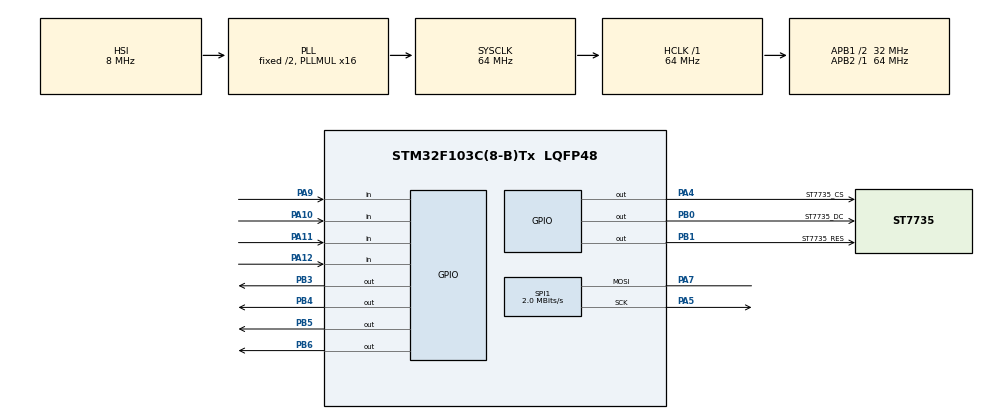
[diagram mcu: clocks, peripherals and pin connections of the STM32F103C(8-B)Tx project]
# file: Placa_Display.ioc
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Mcu.Family=STM32F1
Mcu.Name=STM32F103C(8-B)Tx
Mcu.Package=LQFP48
NVIC.PriorityGroup=NVIC_PRIORITYGROUP_4
PA10.GPIO_PuPd=GPIO_PULLUP
PA10.Signal=GPIO_Input
PA11.GPIO_PuPd=GPIO_PULLUP
PA11.Signal=GPIO_Input
PA12.GPIO_PuPd=GPIO_PULLUP
PA12.Signal=GPIO_Input
PA13.Mode=Serial_Wire
PA13.Signal=SYS_JTMS-SWDIO
PA14.Mode=Serial_Wire
PA14.Signal=SYS_JTCK-SWCLK
PA4.GPIO_Label=ST7735_CS
PA4.Signal=GPIO_Output
PA5.Mode=Simplex_Bidirectional_Master
PA5.Signal=SPI1_SCK
PA7.Mode=Simplex_Bidirectional_Master
PA7.Signal=SPI1_MOSI
PA9.GPIO_PuPd=GPIO_PULLUP
PA9.Signal=GPIO_Input
PB0.GPIO_Label=ST7735_DC
PB0.Signal=GPIO_Output
PB1.GPIO_Label=ST7735_RES
PB1.Signal=GPIO_Output
PB3.Signal=GPIO_Output
PB4.Signal=GPIO_Output
PB5.Signal=GPIO_Output
PB6.Signal=GPIO_Output
ProjectManager.HeapSize=0x200
ProjectManager.StackSize=0x400
ProjectManager.TargetToolchain=STM32CubeIDE
RCC.AHBFreq_Value=64000000
RCC.APB1CLKDivider=RCC_HCLK_DIV2
RCC.APB1Freq_Value=32000000
RCC.APB1TimFreq_Value=64000000
RCC.APB2Freq_Value=64000000
RCC.APB2TimFreq_Value=64000000
RCC.HCLKFreq_Value=64000000
RCC.PLLMUL=RCC_PLL_MUL16
RCC.SYSCLKFreq_VALUE=64000000
RCC.SYSCLKSource=RCC_SYSCLKSOURCE_PLLCLK
RCC.USBFreq_Value=64000000
SPI1.BaudRatePrescaler=SPI_BAUDRATEPRESCALER_32
SPI1.CalculateBaudRate=2.0 MBits/s
SPI1.Direction=SPI_DIRECTION_1LINE
SPI1.Mode=SPI_MODE_MASTER
SPI1.VirtualType=VM_MASTER
board=custom

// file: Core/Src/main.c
/* USER CODE BEGIN Header */
/**
  ******************************************************************************
  * @file           : main.c
  * @brief          : Main program body
  ******************************************************************************
  * @attention
  *
  * <h2><center>&copy; Copyright (c) 2024 STMicroelectronics.
  * All rights reserved.</center></h2>
  *
  * This software component is licensed by ST under BSD 3-Clause license,
  * the "License"; You may not use this file except in compliance with the
  * License. You may obtain a copy of the License at:
  *                        opensource.org/licenses/BSD-3-Clause
  *
  ******************************************************************************
  */
/* USER CODE END Header */
#include "main.h"

/* USER CODE BEGIN Includes */
#include "ST7735\st7735.h"
/* USER CODE END Includes */

/* USER CODE BEGIN PD */
#define FonteQuad Font_16x26
#define DeslocX (2)
#define DeslocY (-3)
#define botEsquerda !HAL_GPIO_ReadPin(GPIOA, GPIO_PIN_9)
#define botDireita  !HAL_GPIO_ReadPin(GPIOA, GPIO_PIN_11)
#define botCima     !HAL_GPIO_ReadPin(GPIOA, GPIO_PIN_12)
#define botBaixo    !HAL_GPIO_ReadPin(GPIOA, GPIO_PIN_10)
/* USER CODE END PD */

SPI_HandleTypeDef hspi1;

/* USER CODE BEGIN PV */
short cursorX = 1;
short cursorY = 1;
short pontosX = 0;
short pontosO = 0;
char* jogador = "x";
short matriz[3][3];
char buffer [10];
char buffer2 [10];
/* USER CODE END PV */

void SystemClock_Config(void);
static void MX_GPIO_Init(void);
static void MX_SPI1_Init(void);
/* USER CODE BEGIN PFP */
void desenhaQuad (short linha, short coluna, const char* chr);
void piscaCursor();
void cursorParaEsquerda();
void cursorParaDireita ();
void alternaJogador();
void fimJogada();
void consertaTabuleiro();
void fimRodada(short result);
void checarVitoria();
void novaRodada();
void zerarMatriz();
void atualizarPontos();
void fimDeJogo();
int sprintf(char *str, const char *format, ...);
/* USER CODE END PFP */

int main(void)
{

  /* MCU Configuration--------------------------------------------------------*/

  /* Reset of all peripherals, Initializes the Flash interface and the Systick. */
  HAL_Init();

  /* Configure the system clock */
  SystemClock_Config();

  /* Initialize all configured peripherals */
  MX_GPIO_Init();
  MX_SPI1_Init();
  /* USER CODE BEGIN 2 */
  ST7735_Init();
  ST7735_FillScreen(WHITE);
  novaRodada();
  /* USER CODE END 2 */

  /* Infinite loop */
  /* USER CODE BEGIN WHILE */
  while (1)
  {
	  piscaCursor();
	  if (botEsquerda) {
	 cursorParaEsquerda();
	  }

	  if (botDireita) {
	  cursorParaDireita();
	  }

	  if (botBaixo) {
	  fimJogada();
	  HAL_Delay(300);
	  }

	  if (botCima) {
	  fimJogada();
	  HAL_Delay(300);
	  }
    /* USER CODE END WHILE */

  }
}

void SystemClock_Config(void)
{
  RCC_OscInitTypeDef RCC_OscInitStruct = {0};
  RCC_ClkInitTypeDef RCC_ClkInitStruct = {0};

  /** Initializes the RCC Oscillators according to the specified parameters
  * in the RCC_OscInitTypeDef structure.
  */
  RCC_OscInitStruct.OscillatorType = RCC_OSCILLATORTYPE_HSI;
  RCC_OscInitStruct.HSIState = RCC_HSI_ON;
  RCC_OscInitStruct.HSICalibrationValue = RCC_HSICALIBRATION_DEFAULT;
  RCC_OscInitStruct.PLL.PLLState = RCC_PLL_ON;
  RCC_OscInitStruct.PLL.PLLSource = RCC_PLLSOURCE_HSI_DIV2;
  RCC_OscInitStruct.PLL.PLLMUL = RCC_PLL_MUL16;
  if (HAL_RCC_OscConfig(&RCC_OscInitStruct) != HAL_OK)
  {
    Error_Handler();
  }
  /** Initializes the CPU, AHB and APB buses clocks
  */
  RCC_ClkInitStruct.ClockType = RCC_CLOCKTYPE_HCLK|RCC_CLOCKTYPE_SYSCLK
                              |RCC_CLOCKTYPE_PCLK1|RCC_CLOCKTYPE_PCLK2;
  RCC_ClkInitStruct.SYSCLKSource = RCC_SYSCLKSOURCE_PLLCLK;
  RCC_ClkInitStruct.AHBCLKDivider = RCC_SYSCLK_DIV1;
  RCC_ClkInitStruct.APB1CLKDivider = RCC_HCLK_DIV2;
  RCC_ClkInitStruct.APB2CLKDivider = RCC_HCLK_DIV1;

  if (HAL_RCC_ClockConfig(&RCC_ClkInitStruct, FLASH_LATENCY_2) != HAL_OK)
  {
    Error_Handler();
  }
}

static void MX_SPI1_Init(void)
{

  /* SPI1 parameter configuration*/
  hspi1.Instance = SPI1;
  hspi1.Init.Mode = SPI_MODE_MASTER;
  hspi1.Init.Direction = SPI_DIRECTION_1LINE;
  hspi1.Init.DataSize = SPI_DATASIZE_8BIT;
  hspi1.Init.CLKPolarity = SPI_POLARITY_LOW;
  hspi1.Init.CLKPhase = SPI_PHASE_1EDGE;
  hspi1.Init.NSS = SPI_NSS_SOFT;
  hspi1.Init.BaudRatePrescaler = SPI_BAUDRATEPRESCALER_32;
  hspi1.Init.FirstBit = SPI_FIRSTBIT_MSB;
  hspi1.Init.TIMode = SPI_TIMODE_DISABLE;
  hspi1.Init.CRCCalculation = SPI_CRCCALCULATION_DISABLE;
  hspi1.Init.CRCPolynomial = 10;
  if (HAL_SPI_Init(&hspi1) != HAL_OK)
  {
    Error_Handler();
  }

}

static void MX_GPIO_Init(void)
{
  GPIO_InitTypeDef GPIO_InitStruct = {0};

  /* GPIO Ports Clock Enable */
  __HAL_RCC_GPIOA_CLK_ENABLE();
  __HAL_RCC_GPIOB_CLK_ENABLE();

  /*Configure GPIO pin Output Level */
  HAL_GPIO_WritePin(ST7735_CS_GPIO_Port, ST7735_CS_Pin, GPIO_PIN_RESET);

  /*Configure GPIO pin Output Level */
  HAL_GPIO_WritePin(GPIOB, ST7735_DC_Pin|ST7735_RES_Pin|GPIO_PIN_3|GPIO_PIN_4
                          |GPIO_PIN_5|GPIO_PIN_6, GPIO_PIN_RESET);

  /*Configure GPIO pin : ST7735_CS_Pin */
  GPIO_InitStruct.Pin = ST7735_CS_Pin;
  GPIO_InitStruct.Mode = GPIO_MODE_OUTPUT_PP;
  GPIO_InitStruct.Pull = GPIO_NOPULL;
  GPIO_InitStruct.Speed = GPIO_SPEED_FREQ_LOW;
  HAL_GPIO_Init(ST7735_CS_GPIO_Port, &GPIO_InitStruct);

  /*Configure GPIO pins : ST7735_DC_Pin ST7735_RES_Pin PB3 PB4
                           PB5 PB6 */
  GPIO_InitStruct.Pin = ST7735_DC_Pin|ST7735_RES_Pin|GPIO_PIN_3|GPIO_PIN_4
                          |GPIO_PIN_5|GPIO_PIN_6;
  GPIO_InitStruct.Mode = GPIO_MODE_OUTPUT_PP;
  GPIO_InitStruct.Pull = GPIO_NOPULL;
  GPIO_InitStruct.Speed = GPIO_SPEED_FREQ_LOW;
  HAL_GPIO_Init(GPIOB, &GPIO_InitStruct);

  /*Configure GPIO pins : PA9 PA10 PA11 PA12 */
  GPIO_InitStruct.Pin = GPIO_PIN_9|GPIO_PIN_10|GPIO_PIN_11|GPIO_PIN_12;
  GPIO_InitStruct.Mode = GPIO_MODE_INPUT;
  GPIO_InitStruct.Pull = GPIO_PULLUP;
  HAL_GPIO_Init(GPIOA, &GPIO_InitStruct);

}

/* USER CODE BEGIN 4 */
void desenhaQuad (short linha, short coluna, const char* chr) {
	short posX = 50 + 20 * (linha - 1);
	short posY = 9 + 20 * (coluna - 1 );
	  ST7735_WriteString(posX + DeslocX, posY + DeslocY, chr , FonteQuad, BLACK, WHITE);
	  consertaTabuleiro();
}
void consertaTabuleiro () {
	  ST7735_DrawLine(50, 29, 110, 29, BLACK);
	  ST7735_DrawLine(50, 49, 110, 49, BLACK);
}
void cursorParaDireita () {
	short i;
	for (i = 1; i <=9; i++) {
	cursorX++;
	if (cursorX == 4 && cursorY == 3) {
		cursorX = 1;
		cursorY = 1;
	} else if (cursorX == 4) {
		cursorX = 1;
	    cursorY++;
	}

	if (matriz[cursorX - 1][cursorY - 1] == 0)
		return;

	}
	fimRodada(0);
}
void cursorParaEsquerda () {
	for (;;) {
	cursorX--;
	if (cursorX == 0 && cursorY == 1) {
		cursorX = 3;
		cursorY = 3;
	} else if (cursorX == 0) {
		cursorX = 3;
		cursorY--;
	}

	if (matriz[cursorX - 1][cursorY - 1] == 0)
		break;

	}
}
void alternaJogador() {
	if (*jogador == 'x') {
		ST7735_WriteString(0, 0, "o:" , Font_11x18, BLACK, WHITE);
	   	jogador = "o";
	    } else {
	    ST7735_WriteString(0, 0, "x:" , Font_11x18, BLACK, WHITE);
	   	jogador = "x";
	    }
}
void piscaCursor() {
	while (1) {
		desenhaQuad (cursorX, cursorY, jogador);
		for (int x=0;x<20;x++)
		{
			HAL_Delay(50);
			if (botCima || botDireita || botEsquerda || botBaixo)
			{
				HAL_Delay(66);
				desenhaQuad (cursorX, cursorY, " ");
				return;
			}
		}
		desenhaQuad (cursorX, cursorY, " ");
		for (int x=0;x<20;x++)
		{
			HAL_Delay(50);
			if (botCima || botDireita || botEsquerda || botBaixo)
			{
				HAL_Delay(66);
				return;
			}
		}
	}
}
void fimJogada() {
	if (*jogador == 'x') {
		matriz[cursorX - 1][cursorY - 1] = 1;
	} else {
		matriz[cursorX - 1][cursorY - 1] = -1;
	}
	desenhaQuad (cursorX, cursorY, jogador);
	alternaJogador();
	cursorX = 0;
	cursorY = 1;
	cursorParaDireita();
	checarVitoria();
}
void checarVitoria() {
	short i = 0;
	for (i=0; i<=2; i++) {
		if (matriz[i][0] + matriz[i][1] + matriz[i][2] == 3) {
			ST7735_DrawLine(59 + 20 * i + DeslocX, 9 + DeslocY, 59 + 20 * i, 74, BLACK);
			fimRodada(1);
		} else if (matriz[i][0] + matriz[i][1] + matriz[i][2] == -3) {
			ST7735_DrawLine(59 + 20 * i + DeslocX, 9 + DeslocY, 59 + 20 * i, 74, BLACK);
			fimRodada(2);
		}
	}
	for (i=0; i<=2; i++) {
		if (matriz[0][i] + matriz[1][i] + matriz[2][i] == 3) {
			ST7735_DrawLine(45, 21 + 20 * i + DeslocY, 115, 21 + 20 * i + DeslocY, BLACK);
			fimRodada(1);
		} else if (matriz[0][i] + matriz[1][i] + matriz[2][i] == -3) {
			ST7735_DrawLine(45, 21 + 20 * i + DeslocY, 115, 21 + 20 * i + DeslocY, BLACK);
			fimRodada(2);
		}
	}

	if (matriz[0][0] + matriz[1][1] + matriz[2][2] == 3) {
		ST7735_DrawLine(48, 8, 111, 69, BLACK);
		fimRodada(1);
	} else if (matriz[0][0] + matriz[1][1] + matriz[2][2] == -3) {
		ST7735_DrawLine(48, 8, 111, 69, BLACK);
		fimRodada(2);
	}

	if (matriz[0][2] + matriz[1][1] + matriz[2][0] == 3) {
		ST7735_DrawLine(48, 69, 111, 8, BLACK);
		fimRodada(1);
	} else if (matriz[0][2] + matriz[1][1] + matriz[2][0] == -3) {
		ST7735_DrawLine(48, 69, 111, 8, BLACK);
		fimRodada(2);
	}
}
void fimRodada(short result) {
	switch (result) {
	case 0:
		break;
	case 1:
		pontosX++;
		jogador = "o";
		atualizarPontos();
		break;
	case 2:
		pontosO++;
		jogador = "x";
		atualizarPontos();
		break;
	}
	HAL_Delay(400);
	while (!botCima && !botBaixo && !botEsquerda && !botDireita) {}
	if (pontosX == 2 || pontosO == 2)
		fimDeJogo();
	zerarMatriz();
	novaRodada();
	cursorX = 0;
	cursorY = 1;
	cursorParaDireita();
}
void zerarMatriz() {
	short i = 0;
	short j = 0;
	for (i=0; i<=2; i++) {
		for (j=0; j<=2; j++) {
			matriz[i][j] = 0;
		}
	}
}
void atualizarPontos() {
	if (pontosX > 0)
		HAL_GPIO_WritePin(GPIOB, GPIO_PIN_6, 1);
	if (pontosX > 1)
		HAL_GPIO_WritePin(GPIOB, GPIO_PIN_5, 1);
	if (pontosO > 0)
		HAL_GPIO_WritePin(GPIOB, GPIO_PIN_3, 1);
	if (pontosO > 1)
		HAL_GPIO_WritePin(GPIOB, GPIO_PIN_4, 1);
	sprintf(buffer, "O:%d", pontosO);
	sprintf(buffer2, "X:%d", pontosX);
	ST7735_WriteString(159 - 7 * 3, 79 - 10 * 1, buffer , Font_7x10, BLACK, WHITE);
	ST7735_WriteString(159 - 7 * 3, 79 - 10 * 2, buffer2 , Font_7x10, BLACK, WHITE);
}
void novaRodada() {
	ST7735_FillScreen(WHITE);
	ST7735_DrawLine(50, 29, 110, 29, BLACK);
	ST7735_DrawLine(50, 49, 110, 49, BLACK);
	ST7735_DrawLine(70, 9, 70, 69, BLACK);
	ST7735_DrawLine(90, 9, 90, 69, BLACK);

	atualizarPontos();
	ST7735_WriteString(0, 0, jogador , Font_11x18, BLACK, WHITE);
	ST7735_WriteString(11, 0, ":" , Font_11x18, BLACK, WHITE);
}
void fimDeJogo() {
	ST7735_FillScreen(WHITE);
	ST7735_WriteString(34, 24, "Vencedor:" , Font_11x18, BLACK, WHITE);
	if (pontosX == 2) {
	    ST7735_WriteString(73, 43, "x" , Font_16x26, BLACK, WHITE);
	} else {
		ST7735_WriteString(73, 43, "o" , Font_16x26, BLACK, WHITE);
	}
	while (!botCima && !botBaixo && !botEsquerda && !botDireita) {}
	pontosX = 0;
	pontosO = 0;
	HAL_GPIO_WritePin(GPIOB, GPIO_PIN_4, 0);
	HAL_GPIO_WritePin(GPIOB, GPIO_PIN_5, 0);
	HAL_GPIO_WritePin(GPIOB, GPIO_PIN_6, 0);
	HAL_GPIO_WritePin(GPIOB, GPIO_PIN_3, 0);
	jogador = "x";
	fimRodada(0);
}
/* USER CODE END 4 */

void Error_Handler(void)
{
  __disable_irq();
  while (1)
  {
  }
}

/************************ (C) COPYRIGHT STMicroelectronics *****END OF FILE****/
